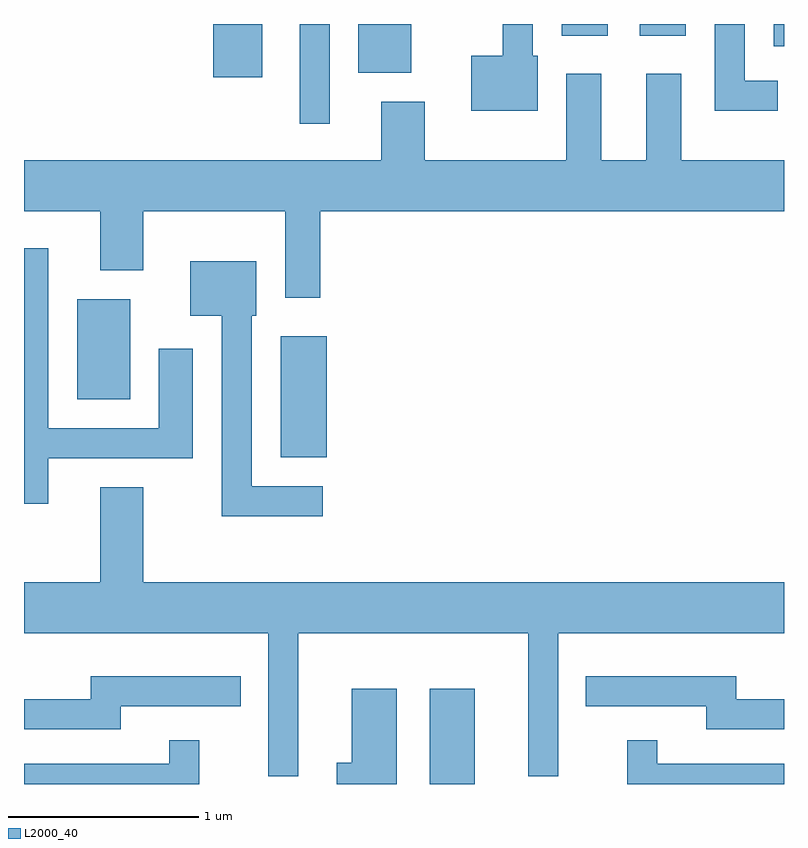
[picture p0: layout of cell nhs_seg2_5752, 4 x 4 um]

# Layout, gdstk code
import gdstk
lib = gdstk.Library(unit=1e-6, precision=1e-09)
def R(c, l, rs):  # rectangles x0, y0, x1, y1
    for r in rs: c.add(gdstk.rectangle(r[:2], r[2:], *l))
def P(c, l, *ps):  # polygons
    for p in ps: c.add(gdstk.Polygon(p, *l))
L2000_40 = (2000, 40)

nhs_seg2_5752 = lib.new_cell('nhs_seg2_5752')
R(nhs_seg2_5752, L2000_40, [(357.746,989.802,357.984,990.304), (356.961,991.521,357.204,992.159), (355.891,991.826,356.169,992.354), (357.061,993.278,357.219,993.802), (356.606,993.521,356.864,993.802), (357.371,993.546,357.649,993.802), (359.556,993.686,359.611,993.802), (358.441,993.741,358.684,993.802), (358.851,993.741,359.094,993.802)])
P(nhs_seg2_5752, L2000_40, [(358.314,993.634),(358.289,993.634),(358.289,993.802),(358.131,993.802),(358.131,993.634),(357.966,993.634),(357.966,993.346),(358.314,993.346)],
  [(359.578,993.504),(359.404,993.504),(359.404,993.802),(359.246,993.802),(359.246,993.346),(359.578,993.346)],
  [(358.886,993.539),(358.886,993.084),(358.649,993.084),(358.649,993.539),(358.466,993.539),(358.466,993.084),(357.719,993.084),(357.719,993.394),(357.491,993.394),(357.491,993.084),(355.611,993.084),(355.611,992.816),(356.011,992.816),(356.011,992.506),(356.239,992.506),(356.239,992.816),(356.986,992.816),(356.986,992.361),(357.169,992.361),(357.169,992.816),(359.611,992.816),(359.611,993.084),(359.069,993.084),(359.069,993.539)],
  [(355.739,991.516),(356.499,991.516),(356.499,992.094),(356.321,992.094),(356.321,991.674),(355.739,991.674),(355.739,992.623),(355.611,992.623),(355.611,991.278),(355.739,991.278)],
  [(357.183,991.369),(356.809,991.369),(356.809,992.266),(356.834,992.266),(356.834,992.554),(356.486,992.554),(356.486,992.266),(356.651,992.266),(356.651,991.211),(357.183,991.211)],
  [(357.054,990.596),(358.266,990.596),(358.266,989.843),(358.424,989.843),(358.424,990.596),(359.611,990.596),(359.611,990.864),(356.239,990.864),(356.239,991.364),(356.011,991.364),(356.011,990.864),(355.611,990.864),(355.611,990.596),(356.896,990.596),(356.896,989.843),(357.054,989.843)],
  [(359.611,990.249),(359.359,990.249),(359.359,990.369),(358.568,990.369),(358.568,990.211),(359.201,990.211),(359.201,990.091),(359.611,990.091)],
  [(356.119,990.211),(356.753,990.211),(356.753,990.369),(355.961,990.369),(355.961,990.249),(355.611,990.249),(355.611,990.091),(356.119,990.091)],
  [(357.574,990.304),(357.336,990.304),(357.336,989.914),(357.256,989.914),(357.256,989.802),(357.574,989.802)],
  [(356.534,990.033),(356.376,990.033),(356.376,989.909),(355.611,989.909),(355.611,989.802),(356.534,989.802)],
  [(359.611,989.909),(358.944,989.909),(358.944,990.033),(358.786,990.033),(358.786,989.802),(359.611,989.802)])

lib.write_gds('nhs_seg2_5752.gds')
